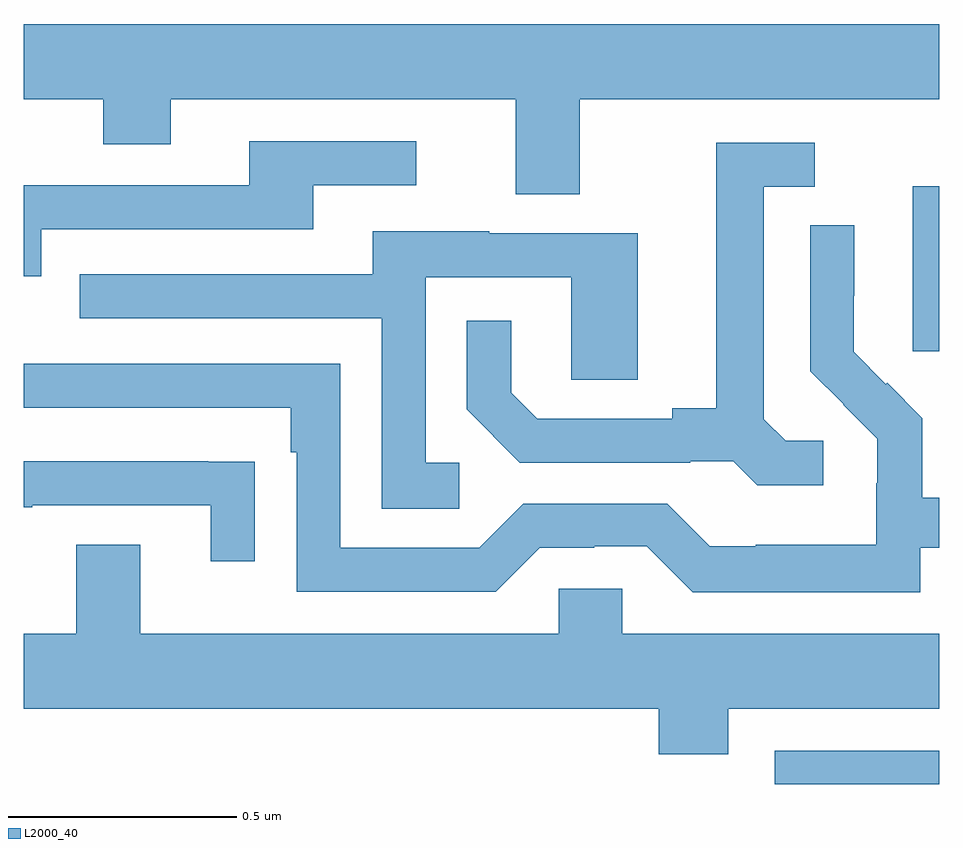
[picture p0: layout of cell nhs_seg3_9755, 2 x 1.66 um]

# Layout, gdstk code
import gdstk
lib = gdstk.Library(unit=1e-6, precision=1e-09)
def R(c, l, rs):  # rectangles x0, y0, x1, y1
    for r in rs: c.add(gdstk.rectangle(r[:2], r[2:], *l))
def P(c, l, *ps):  # polygons
    for p in ps: c.add(gdstk.Polygon(p, *l))
L2000_40 = (2000, 40)

nhs_seg3_9755 = lib.new_cell('nhs_seg3_9755')
R(nhs_seg3_9755, L2000_40, [(233.64,719.4,234,719.473), (233.942,720.345,234,720.706)])
P(nhs_seg3_9755, L2000_40, [(233.215,720.896),(234,720.896),(234,721.06),(232,721.06),(232,720.896),(232.174,720.896),(232.174,720.797),(232.321,720.797),(232.321,720.896),(233.075,720.896),(233.075,720.688),(233.215,720.688)],
  [(232.038,720.612),(232.633,720.612),(232.633,720.708),(232.858,720.708),(232.858,720.804),(232.493,720.804),(232.493,720.708),(232,720.708),(232,720.509),(232.038,720.509)],
  [(233.746,720.15),(233.664,720.15),(233.617,720.197),(233.617,720.705),(233.728,720.705),(233.728,720.801),(233.513,720.801),(233.513,720.221),(233.417,720.221),(233.417,720.198),(233.122,720.198),(233.065,720.255),(233.065,720.412),(232.968,720.412),(232.968,720.218),(233.084,720.102),(233.456,720.102),(233.456,720.105),(233.55,720.105),(233.602,720.053),(233.746,720.053)],
  [(233.958,719.916),(234,719.916),(234,720.025),(233.963,720.025),(233.963,720.199),(233.886,720.276),(233.883,720.273),(233.813,720.344),(233.813,720.466),(233.814,720.466),(233.814,720.62),(233.718,720.62),(233.718,720.302),(233.791,720.229),(233.79,720.228),(233.864,720.154),(233.864,720.057),(233.862,720.057),(233.862,719.923),(233.599,719.923),(233.599,719.919),(233.499,719.919),(233.406,720.012),(233.091,720.012),(232.995,719.916),(232.692,719.916),(232.692,720.318),(232,720.318),(232,720.222),(232.583,720.222),(232.583,720.125),(232.596,720.125),(232.596,719.82),(233.031,719.82),(233.127,719.916),(233.246,719.916),(233.246,719.919),(233.361,719.919),(233.461,719.819),(233.958,719.819)],
  [(232.951,720.102),(232.878,720.102),(232.878,720.507),(233.196,720.507),(233.196,720.283),(233.341,720.283),(233.341,720.603),(233.017,720.603),(233.017,720.607),(232.763,720.607),(232.763,720.513),(232.123,720.513),(232.123,720.417),(232.782,720.417),(232.782,720.001),(232.951,720.001)],
  [(232.505,720.104),(232.403,720.104),(232.403,720.105),(232,720.105),(232,720.004),(232.019,720.004),(232.019,720.009),(232.409,720.009),(232.409,719.886),(232.505,719.886)],
  [(233.539,719.564),(234,719.564),(234,719.728),(233.307,719.728),(233.307,719.826),(233.169,719.826),(233.169,719.728),(232.255,719.728),(232.255,719.923),(232.115,719.923),(232.115,719.728),(232,719.728),(232,719.564),(233.387,719.564),(233.387,719.465),(233.539,719.465)])

lib.write_gds('nhs_seg3_9755.gds')
